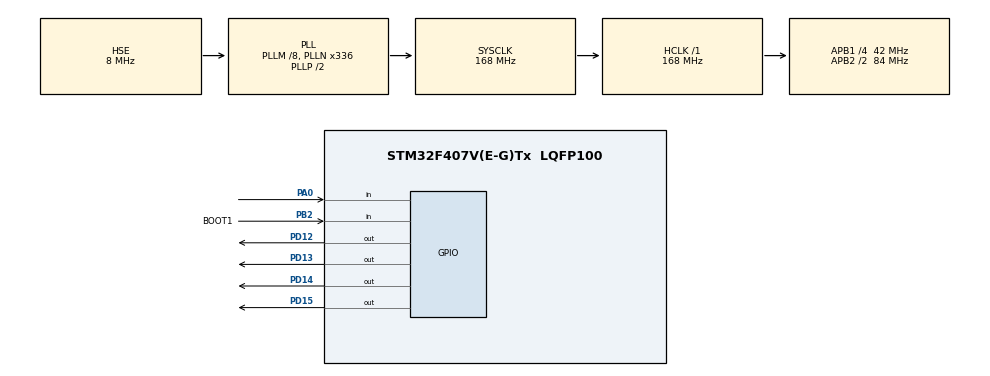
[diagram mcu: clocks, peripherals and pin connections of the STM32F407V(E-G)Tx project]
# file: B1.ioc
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Mcu.Family=STM32F4
Mcu.Name=STM32F407V(E-G)Tx
Mcu.Package=LQFP100
NVIC.PriorityGroup=NVIC_PRIORITYGROUP_0
PA0-WKUP.Signal=GPIO_Input
PA13.GPIO_Label=SWDIO
PA13.Mode=Trace_Asynchronous_SW
PA13.Signal=SYS_JTMS-SWDIO
PA14.GPIO_Label=SWCLK
PA14.Mode=Trace_Asynchronous_SW
PA14.Signal=SYS_JTCK-SWCLK
PB2.GPIO_Label=BOOT1
PB2.GPIO_Mode=GPIO_MODE_INPUT
PB2.GPIO_PuPd=GPIO_NOPULL
PB2.Signal=GPIO_Input
PB3.GPIO_Label=SWO
PB3.Mode=Trace_Asynchronous_SW
PB3.Signal=SYS_JTDO-SWO
PD12.Signal=GPIO_Output
PD13.Signal=GPIO_Output
PD14.Signal=GPIO_Output
PD15.Signal=GPIO_Output
PH0-OSC_IN.GPIO_Label=PH0-OSC_IN
PH0-OSC_IN.Mode=HSE-External-Oscillator
PH0-OSC_IN.Signal=RCC_OSC_IN
PH1-OSC_OUT.GPIO_Label=PH1-OSC_OUT
PH1-OSC_OUT.Mode=HSE-External-Oscillator
PH1-OSC_OUT.Signal=RCC_OSC_OUT
ProjectManager.HeapSize=0x400
ProjectManager.StackSize=0x400
ProjectManager.TargetToolchain=MDK-ARM V5
RCC.AHBFreq_Value=168000000
RCC.APB1CLKDivider=RCC_HCLK_DIV4
RCC.APB1Freq_Value=42000000
RCC.APB1TimFreq_Value=84000000
RCC.APB2CLKDivider=RCC_HCLK_DIV2
RCC.APB2Freq_Value=84000000
RCC.APB2TimFreq_Value=168000000
RCC.CortexFreq_Value=168000000
RCC.HCLKFreq_Value=168000000
RCC.HSE_VALUE=8000000
RCC.HSI_VALUE=16000000
RCC.LSE_VALUE=32768
RCC.PLLM=8
RCC.PLLN=336
RCC.PLLQ=7
RCC.PLLSourceVirtual=RCC_PLLSOURCE_HSE
RCC.SYSCLKFreq_VALUE=168000000
RCC.SYSCLKSource=RCC_SYSCLKSOURCE_PLLCLK
RCC.VCOOutputFreq_Value=336000000
board=STM32F4DISCOVERY

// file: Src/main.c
/**
  ******************************************************************************
  * File Name          : main.c
  * Description        : Main program body
  ******************************************************************************
  ** This notice applies to any and all portions of this file
  * that are not between comment pairs USER CODE BEGIN and
  * USER CODE END. Other portions of this file, whether
  * inserted by the user or by software development tools
  * are owned by their respective copyright owners.
  *
  * COPYRIGHT(c) 2018 STMicroelectronics
  *
  * Redistribution and use in source and binary forms, with or without modification,
  * are permitted provided that the following conditions are met:
  *   1. Redistributions of source code must retain the above copyright notice,
  *      this list of conditions and the following disclaimer.
  *   2. Redistributions in binary form must reproduce the above copyright notice,
  *      this list of conditions and the following disclaimer in the documentation
  *      and/or other materials provided with the distribution.
  *   3. Neither the name of STMicroelectronics nor the names of its contributors
  *      may be used to endorse or promote products derived from this software
  *      without specific prior written permission.
  *
  * THIS SOFTWARE IS PROVIDED BY THE COPYRIGHT HOLDERS AND CONTRIBUTORS "AS IS"
  * AND ANY EXPRESS OR IMPLIED WARRANTIES, INCLUDING, BUT NOT LIMITED TO, THE
  * IMPLIED WARRANTIES OF MERCHANTABILITY AND FITNESS FOR A PARTICULAR PURPOSE ARE
  * DISCLAIMED. IN NO EVENT SHALL THE COPYRIGHT HOLDER OR CONTRIBUTORS BE LIABLE
  * FOR ANY DIRECT, INDIRECT, INCIDENTAL, SPECIAL, EXEMPLARY, OR CONSEQUENTIAL
  * DAMAGES (INCLUDING, BUT NOT LIMITED TO, PROCUREMENT OF SUBSTITUTE GOODS OR
  * SERVICES; LOSS OF USE, DATA, OR PROFITS; OR BUSINESS INTERRUPTION) HOWEVER
  * CAUSED AND ON ANY THEORY OF LIABILITY, WHETHER IN CONTRACT, STRICT LIABILITY,
  * OR TORT (INCLUDING NEGLIGENCE OR OTHERWISE) ARISING IN ANY WAY OUT OF THE USE
  * OF THIS SOFTWARE, EVEN IF ADVISED OF THE POSSIBILITY OF SUCH DAMAGE.
  *
  ******************************************************************************
  */

#include "main.h"
#include "stm32f4xx_hal.h"

/* USER CODE BEGIN Includes */
#include "retar.c"
/* USER CODE END Includes */

/* USER CODE BEGIN PV */
/* Private variables ---------------------------------------------------------*/

/* USER CODE END PV */

void SystemClock_Config(void);
static void MX_GPIO_Init(void);

/* USER CODE BEGIN PFP */
/* Private function prototypes -----------------------------------------------*/

/* USER CODE END PFP */

int main(void)
{

  /* USER CODE BEGIN 1 */
	uint32_t OldSysTick, state;
  /* USER CODE END 1 */

  /* MCU Configuration----------------------------------------------------------*/

  /* Reset of all peripherals, Initializes the Flash interface and the Systick. */
  HAL_Init();

  /* Configure the system clock */
  SystemClock_Config();

  /* Initialize all configured peripherals */
  MX_GPIO_Init();

  /* USER CODE BEGIN 2 */
	HAL_Delay(10);
	printf("Started...\n");
	HAL_Delay(10);
	printf("%d\n",HAL_RCC_GetHCLKFreq());
	printf("%d\n",HAL_GetTick());
	HAL_Delay(1000);
	printf("%d\n",HAL_GetTick());
	OldSysTick = HAL_GetTick(); state = 1;
  /* USER CODE END 2 */

  /* Infinite loop */
  while (1)
  {

  /* USER CODE BEGIN 3 */

		switch (state)	{
			case 1:
				HAL_GPIO_WritePin(GPIOD, GPIO_PIN_13,GPIO_PIN_SET);
				HAL_GPIO_WritePin(GPIOD, GPIO_PIN_14,GPIO_PIN_RESET);
				if (HAL_GetTick() > (OldSysTick + 700) )
					state = 2;
				break;
			case 2:
				HAL_GPIO_WritePin(GPIOD, GPIO_PIN_13,GPIO_PIN_RESET);
				HAL_GPIO_WritePin(GPIOD, GPIO_PIN_14,GPIO_PIN_SET);
				if (HAL_GetTick() > (OldSysTick + 700 + 900) )
					state = 3;
				break;
			case 3:
				HAL_GPIO_WritePin(GPIOD, GPIO_PIN_13,GPIO_PIN_RESET);
				HAL_GPIO_WritePin(GPIOD, GPIO_PIN_14,GPIO_PIN_RESET);
				if (HAL_GetTick() > (OldSysTick + 700 + 900 + 1300) ) {
					state = 1; 	OldSysTick = HAL_GetTick();
					HAL_GPIO_TogglePin(GPIOD, GPIO_PIN_12);
				}
				break;
		}

			if ( HAL_GPIO_ReadPin(GPIOA,GPIO_PIN_0) )
				HAL_GPIO_WritePin(GPIOD, GPIO_PIN_15, GPIO_PIN_SET);
			else
				HAL_GPIO_WritePin(GPIOD, GPIO_PIN_15, GPIO_PIN_RESET);

  }
  /* USER CODE END 3 */

}

/** System Clock Configuration
*/
void SystemClock_Config(void)
{

  RCC_OscInitTypeDef RCC_OscInitStruct;
  RCC_ClkInitTypeDef RCC_ClkInitStruct;

    /**Configure the main internal regulator output voltage
    */
  __HAL_RCC_PWR_CLK_ENABLE();

  __HAL_PWR_VOLTAGESCALING_CONFIG(PWR_REGULATOR_VOLTAGE_SCALE1);

    /**Initializes the CPU, AHB and APB busses clocks
    */
  RCC_OscInitStruct.OscillatorType = RCC_OSCILLATORTYPE_HSE;
  RCC_OscInitStruct.HSEState = RCC_HSE_ON;
  RCC_OscInitStruct.PLL.PLLState = RCC_PLL_ON;
  RCC_OscInitStruct.PLL.PLLSource = RCC_PLLSOURCE_HSE;
  RCC_OscInitStruct.PLL.PLLM = 8;
  RCC_OscInitStruct.PLL.PLLN = 336;
  RCC_OscInitStruct.PLL.PLLP = RCC_PLLP_DIV2;
  RCC_OscInitStruct.PLL.PLLQ = 7;
  if (HAL_RCC_OscConfig(&RCC_OscInitStruct) != HAL_OK)
  {
    _Error_Handler(__FILE__, __LINE__);
  }

    /**Initializes the CPU, AHB and APB busses clocks
    */
  RCC_ClkInitStruct.ClockType = RCC_CLOCKTYPE_HCLK|RCC_CLOCKTYPE_SYSCLK
                              |RCC_CLOCKTYPE_PCLK1|RCC_CLOCKTYPE_PCLK2;
  RCC_ClkInitStruct.SYSCLKSource = RCC_SYSCLKSOURCE_PLLCLK;
  RCC_ClkInitStruct.AHBCLKDivider = RCC_SYSCLK_DIV1;
  RCC_ClkInitStruct.APB1CLKDivider = RCC_HCLK_DIV4;
  RCC_ClkInitStruct.APB2CLKDivider = RCC_HCLK_DIV2;

  if (HAL_RCC_ClockConfig(&RCC_ClkInitStruct, FLASH_LATENCY_5) != HAL_OK)
  {
    _Error_Handler(__FILE__, __LINE__);
  }

    /**Configure the Systick interrupt time
    */
  HAL_SYSTICK_Config(HAL_RCC_GetHCLKFreq()/1000);

    /**Configure the Systick
    */
  HAL_SYSTICK_CLKSourceConfig(SYSTICK_CLKSOURCE_HCLK);

  /* SysTick_IRQn interrupt configuration */
  HAL_NVIC_SetPriority(SysTick_IRQn, 0, 0);
}

/** Configure pins as
        * Analog
        * Input
        * Output
        * EVENT_OUT
        * EXTI
        * Free pins are configured automatically as Analog (this feature is enabled through
        * the Code Generation settings)
*/
static void MX_GPIO_Init(void)
{

  GPIO_InitTypeDef GPIO_InitStruct;

  /* GPIO Ports Clock Enable */
  __HAL_RCC_GPIOE_CLK_ENABLE();
  __HAL_RCC_GPIOC_CLK_ENABLE();
  __HAL_RCC_GPIOH_CLK_ENABLE();
  __HAL_RCC_GPIOA_CLK_ENABLE();
  __HAL_RCC_GPIOB_CLK_ENABLE();
  __HAL_RCC_GPIOD_CLK_ENABLE();

  /*Configure GPIO pin Output Level */
  HAL_GPIO_WritePin(GPIOD, GPIO_PIN_12|GPIO_PIN_13|GPIO_PIN_14|GPIO_PIN_15, GPIO_PIN_RESET);

  /*Configure GPIO pins : PE2 PE3 PE4 PE5
                           PE6 PE7 PE8 PE9
                           PE10 PE11 PE12 PE13
                           PE14 PE15 PE0 PE1 */
  GPIO_InitStruct.Pin = GPIO_PIN_2|GPIO_PIN_3|GPIO_PIN_4|GPIO_PIN_5
                          |GPIO_PIN_6|GPIO_PIN_7|GPIO_PIN_8|GPIO_PIN_9
                          |GPIO_PIN_10|GPIO_PIN_11|GPIO_PIN_12|GPIO_PIN_13
                          |GPIO_PIN_14|GPIO_PIN_15|GPIO_PIN_0|GPIO_PIN_1;
  GPIO_InitStruct.Mode = GPIO_MODE_ANALOG;
  GPIO_InitStruct.Pull = GPIO_NOPULL;
  HAL_GPIO_Init(GPIOE, &GPIO_InitStruct);

  /*Configure GPIO pins : PC13 PC14 PC15 PC0
                           PC1 PC2 PC3 PC4
                           PC5 PC6 PC7 PC8
                           PC9 PC10 PC11 PC12 */
  GPIO_InitStruct.Pin = GPIO_PIN_13|GPIO_PIN_14|GPIO_PIN_15|GPIO_PIN_0
                          |GPIO_PIN_1|GPIO_PIN_2|GPIO_PIN_3|GPIO_PIN_4
                          |GPIO_PIN_5|GPIO_PIN_6|GPIO_PIN_7|GPIO_PIN_8
                          |GPIO_PIN_9|GPIO_PIN_10|GPIO_PIN_11|GPIO_PIN_12;
  GPIO_InitStruct.Mode = GPIO_MODE_ANALOG;
  GPIO_InitStruct.Pull = GPIO_NOPULL;
  HAL_GPIO_Init(GPIOC, &GPIO_InitStruct);

  /*Configure GPIO pin : PA0 */
  GPIO_InitStruct.Pin = GPIO_PIN_0;
  GPIO_InitStruct.Mode = GPIO_MODE_INPUT;
  GPIO_InitStruct.Pull = GPIO_NOPULL;
  HAL_GPIO_Init(GPIOA, &GPIO_InitStruct);

  /*Configure GPIO pins : PA1 PA2 PA3 PA4
                           PA5 PA6 PA7 PA8
                           PA9 PA10 PA11 PA12
                           PA15 */
  GPIO_InitStruct.Pin = GPIO_PIN_1|GPIO_PIN_2|GPIO_PIN_3|GPIO_PIN_4
                          |GPIO_PIN_5|GPIO_PIN_6|GPIO_PIN_7|GPIO_PIN_8
                          |GPIO_PIN_9|GPIO_PIN_10|GPIO_PIN_11|GPIO_PIN_12
                          |GPIO_PIN_15;
  GPIO_InitStruct.Mode = GPIO_MODE_ANALOG;
  GPIO_InitStruct.Pull = GPIO_NOPULL;
  HAL_GPIO_Init(GPIOA, &GPIO_InitStruct);

  /*Configure GPIO pins : PB0 PB1 PB10 PB11
                           PB12 PB13 PB14 PB15
                           PB4 PB5 PB6 PB7
                           PB8 PB9 */
  GPIO_InitStruct.Pin = GPIO_PIN_0|GPIO_PIN_1|GPIO_PIN_10|GPIO_PIN_11
                          |GPIO_PIN_12|GPIO_PIN_13|GPIO_PIN_14|GPIO_PIN_15
                          |GPIO_PIN_4|GPIO_PIN_5|GPIO_PIN_6|GPIO_PIN_7
                          |GPIO_PIN_8|GPIO_PIN_9;
  GPIO_InitStruct.Mode = GPIO_MODE_ANALOG;
  GPIO_InitStruct.Pull = GPIO_NOPULL;
  HAL_GPIO_Init(GPIOB, &GPIO_InitStruct);

  /*Configure GPIO pin : BOOT1_Pin */
  GPIO_InitStruct.Pin = BOOT1_Pin;
  GPIO_InitStruct.Mode = GPIO_MODE_INPUT;
  GPIO_InitStruct.Pull = GPIO_NOPULL;
  HAL_GPIO_Init(BOOT1_GPIO_Port, &GPIO_InitStruct);

  /*Configure GPIO pins : PD8 PD9 PD10 PD11
                           PD0 PD1 PD2 PD3
                           PD4 PD5 PD6 PD7 */
  GPIO_InitStruct.Pin = GPIO_PIN_8|GPIO_PIN_9|GPIO_PIN_10|GPIO_PIN_11
                          |GPIO_PIN_0|GPIO_PIN_1|GPIO_PIN_2|GPIO_PIN_3
                          |GPIO_PIN_4|GPIO_PIN_5|GPIO_PIN_6|GPIO_PIN_7;
  GPIO_InitStruct.Mode = GPIO_MODE_ANALOG;
  GPIO_InitStruct.Pull = GPIO_NOPULL;
  HAL_GPIO_Init(GPIOD, &GPIO_InitStruct);

  /*Configure GPIO pins : PD12 PD13 PD14 PD15 */
  GPIO_InitStruct.Pin = GPIO_PIN_12|GPIO_PIN_13|GPIO_PIN_14|GPIO_PIN_15;
  GPIO_InitStruct.Mode = GPIO_MODE_OUTPUT_PP;
  GPIO_InitStruct.Pull = GPIO_NOPULL;
  GPIO_InitStruct.Speed = GPIO_SPEED_FREQ_LOW;
  HAL_GPIO_Init(GPIOD, &GPIO_InitStruct);

}

void _Error_Handler(char * file, int line)
{
  while(1)
  {
  }
}

/************************ (C) COPYRIGHT STMicroelectronics *****END OF FILE****/
